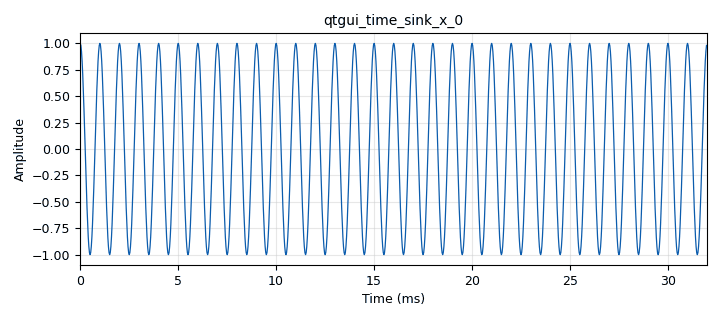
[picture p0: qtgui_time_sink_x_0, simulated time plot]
<?xml version='1.0' encoding='utf-8'?>
<?grc format='1' created='3.7.9'?>
<flow_graph>
<block>
<key>options</key>
<param><key>id</key><value>top_block</value></param>
<param><key>category</key><value>Custom</value></param>
<param><key>generate_options</key><value>qt_gui</value></param>
</block>
<block>
<key>variable</key>
<param><key>id</key><value>samp_rate</value></param>
<param><key>value</key><value>32000</value></param>
</block>
<block>
<key>analog_sig_source_x</key>
<param><key>id</key><value>analog_sig_source_x_0</value></param>
<param><key>amp</key><value>1</value></param>
<param><key>freq</key><value>1000</value></param>
<param><key>offset</key><value>0</value></param>
<param><key>type</key><value>float</value></param>
<param><key>samp_rate</key><value>samp_rate</value></param>
<param><key>waveform</key><value>analog.GR_COS_WAVE</value></param>
</block>
<block>
<key>blocks_throttle</key>
<param><key>id</key><value>blocks_throttle_0</value></param>
<param><key>samples_per_second</key><value>samp_rate</value></param>
<param><key>type</key><value>float</value></param>
</block>
<block>
<key>multiplier_my_multiplier</key>
<param><key>id</key><value>multiplier_my_multiplier_0</value></param>
<param><key>multiple</key><value>2</value></param>
</block>
<block>
<key>qtgui_time_sink_x</key>
<param><key>id</key><value>qtgui_time_sink_x_0</value></param>
<param><key>autoscale</key><value>True</value></param>
<param><key>color1</key><value>"blue"</value></param>
<param><key>label1</key><value></value></param>
<param><key>size</key><value>1024</value></param>
<param><key>srate</key><value>samp_rate</value></param>
<param><key>type</key><value>float</value></param>
</block>
<block>
<key>qtgui_time_sink_x</key>
<param><key>id</key><value>qtgui_time_sink_x_0_0</value></param>
<param><key>autoscale</key><value>True</value></param>
<param><key>color1</key><value>"blue"</value></param>
<param><key>label1</key><value></value></param>
<param><key>size</key><value>1024</value></param>
<param><key>srate</key><value>samp_rate</value></param>
<param><key>type</key><value>float</value></param>
</block>
<connection><source_block_id>analog_sig_source_x_0</source_block_id><sink_block_id>multiplier_my_multiplier_0</sink_block_id><source_key>0</source_key><sink_key>0</sink_key></connection>
<connection><source_block_id>analog_sig_source_x_0</source_block_id><sink_block_id>qtgui_time_sink_x_0</sink_block_id><source_key>0</source_key><sink_key>0</sink_key></connection>
<connection><source_block_id>blocks_throttle_0</source_block_id><sink_block_id>qtgui_time_sink_x_0_0</sink_block_id><source_key>0</source_key><sink_key>0</sink_key></connection>
<connection><source_block_id>multiplier_my_multiplier_0</source_block_id><sink_block_id>blocks_throttle_0</sink_block_id><source_key>0</source_key><sink_key>0</sink_key></connection>
</flow_graph>
